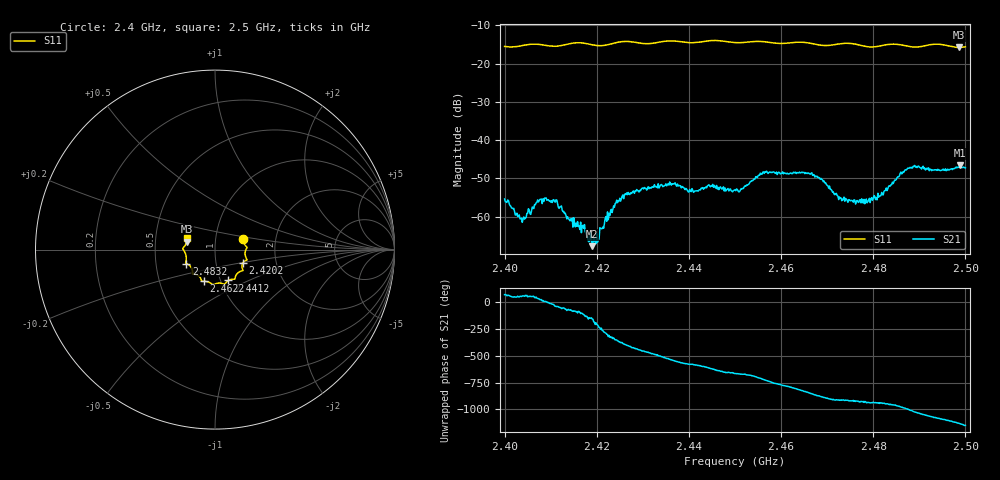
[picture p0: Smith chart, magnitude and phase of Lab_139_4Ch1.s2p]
# Hz S RI R 50
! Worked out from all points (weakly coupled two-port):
!   601 points, 2.4 GHz to 2.5 GHz, reference 50 ohm
!   highest |S21| = -46.62 dB at 2.4988 GHz (marker M1); lowest = -67.7 dB at 2.419 GHz (marker M2)
!   lowest |S11| = -15.8 dB at 2.4987 GHz (marker M3), VSWR 1.39, Z = 36.4 + j3.35 ohm
!   |S11| at or under -10 dB: start of sweep to end of sweep
!   S12 and S22 are empty: the file has one direction only
!   S11 on the Smith chart (normalised r, x): 2.4 GHz: 1.36, +0.17; 2.4202 GHz: 1.35, -0.20; 2.4412 GHz: 1.09, -0.39; 2.4622 GHz: 0.83, -0.30; 2.4832 GHz: 0.72, -0.12; 2.5 GHz: 0.73, +0.10
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2.4e9  0.1567 0.0598  0.000598 0.00159  0 0  0 0
2.403833e9  0.171 0.0207  0.000453 0.000711  0 0  0 0
2.4075e9  0.178 0.00979  0.00142 0.000779  0 0  0 0
2.411e9  0.1675 -0.019  0.00118 -0.000997  0 0  0 0
2.416667e9  0.1774 -0.0582  -0.000133 -0.0006  0 0  0 0
2.419e9  0.164 -0.0649  -0.000378 -0.00016  0 0  0 0
2.420167e9  0.1561 -0.0725  -0.000386 0.000254  0 0  0 0
2.426e9  0.1568 -0.1157  0.00159 -0.00105  0 0  0 0
2.433333e9  0.1132 -0.1525  -0.00206 -0.00172  0 0  0 0
2.441167e9  0.0752 -0.172  -0.00151 0.00151  0 0  0 0
2.45e9  0.0259 -0.1865  0.00133 0.0018  0 0  0 0
2.4565e9  -0.0162 -0.1922  0.00382 -0.000486  0 0  0 0
2.462167e9  -0.0632 -0.1767  0.00112 -0.00353  0 0  0 0
2.466667e9  -0.0768 -0.1663  -0.00256 -0.00273  0 0  0 0
2.474333e9  -0.1249 -0.1357  -0.00157 0.000446  0 0  0 0
2.478833e9  -0.1295 -0.1041  -0.00129 0.000902  0 0  0 0
2.483167e9  -0.1595 -0.0782  -0.00153 0.00173  0 0  0 0
2.483333e9  -0.1604 -0.0778  -0.0015 0.00198  0 0  0 0
2.4885e9  -0.1603 -0.0407  0.00184 0.0039  0 0  0 0
2.498667e9  -0.1562 0.0448  0.00279 -0.00337  0 0  0 0
2.498833e9  -0.1558 0.047  0.00278 -0.00375  0 0  0 0
2.5e9  -0.1536 0.0634  0.00147 -0.00407  0 0  0 0
